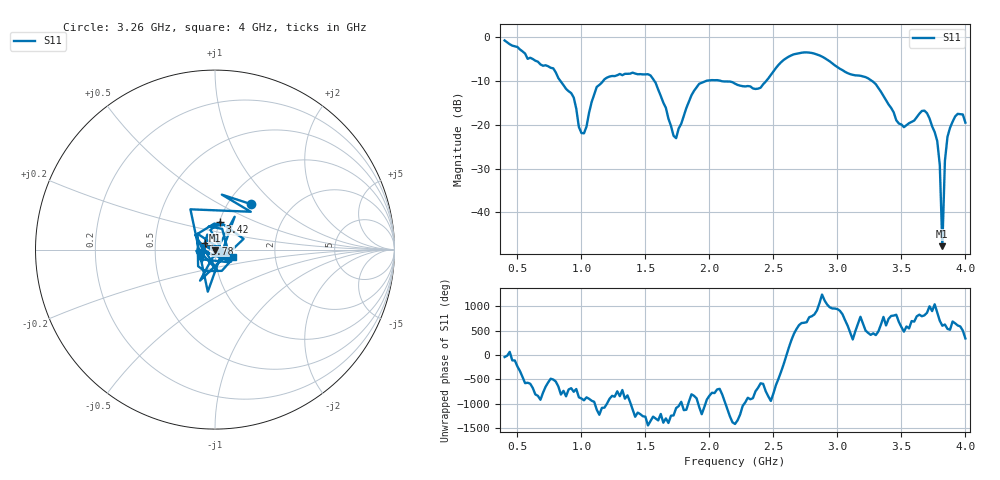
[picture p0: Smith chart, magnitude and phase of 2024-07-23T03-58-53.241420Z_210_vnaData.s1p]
!Created with skrf (http://scikit-rf.org).
# Hz S RI R 50.0
!freq ReS11 ImS11
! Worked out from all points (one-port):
!   181 points, 400 MHz to 4 GHz, reference 50 ohm
!   lowest |S11| = -47.7 dB at 3.82 GHz (marker M1), VSWR 1.01, Z = 49.8 - j0.348 ohm
!   |S11| at or under -10 dB: 1.57 GHz to 1.974 GHz (404.5 MHz wide, 22.8 % of centre); 2.09 GHz to 2.444 GHz (354.8 MHz wide, 15.7 % of centre); 3.269 GHz to end of sweep (the widest 3 of 4)
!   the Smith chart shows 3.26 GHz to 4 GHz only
!   S11 on the Smith chart (normalised r, x): 3.26 GHz: 1.27, +0.72; 3.42 GHz: 1.01, +0.32; 3.78 GHz: 0.89, +0.06; 4 GHz: 1.21, -0.10
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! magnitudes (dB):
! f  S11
! 400 MHz  -0.8
! 780 MHz  -7.1
! 860 MHz  -11.0
! 940 MHz  -13.8
! 980 MHz  -20.5
! 1.02 GHz  -22.0
! 1.12 GHz  -11.4
! 1.3 GHz  -8.4
! 1.54 GHz  -8.8
! 1.72 GHz  -22.5
! 1.76 GHz  -20.8
! 1.92 GHz  -10.7
! 2.2 GHz  -10.6
! 2.4 GHz  -11.6
! 2.66 GHz  -3.9
! 3.1 GHz  -8.5
! 3.26 GHz  -9.8
! 3.42 GHz  -16.2
! 3.48 GHz  -19.7
! 3.56 GHz  -19.6
! 3.68 GHz  -16.8
! 3.78 GHz  -23.7
! 3.8 GHz  -29.2
! 3.82 GHz  -47.7
! 3.84 GHz  -28.2
! 3.86 GHz  -22.8
! 3.94 GHz  -17.5
! 4 GHz  -19.5
